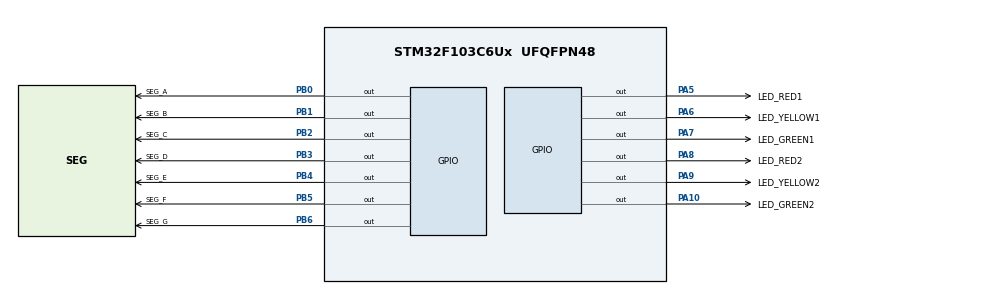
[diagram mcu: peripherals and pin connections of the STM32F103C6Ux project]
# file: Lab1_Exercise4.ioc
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Mcu.Family=STM32F1
Mcu.Name=STM32F103C6Ux
Mcu.Package=UFQFPN48
NVIC.PriorityGroup=NVIC_PRIORITYGROUP_4
PA10.GPIO_Label=LED_GREEN2
PA10.Signal=GPIO_Output
PA5.GPIO_Label=LED_RED1
PA5.Signal=GPIO_Output
PA6.GPIO_Label=LED_YELLOW1
PA6.Signal=GPIO_Output
PA7.GPIO_Label=LED_GREEN1
PA7.PinState=GPIO_PIN_SET
PA7.Signal=GPIO_Output
PA8.GPIO_Label=LED_RED2
PA8.PinState=GPIO_PIN_SET
PA8.Signal=GPIO_Output
PA9.GPIO_Label=LED_YELLOW2
PA9.Signal=GPIO_Output
PB0.GPIO_Label=SEG_A
PB0.PinState=GPIO_PIN_SET
PB0.Signal=GPIO_Output
PB1.GPIO_Label=SEG_B
PB1.PinState=GPIO_PIN_SET
PB1.Signal=GPIO_Output
PB2.GPIO_Label=SEG_C
PB2.PinState=GPIO_PIN_SET
PB2.Signal=GPIO_Output
PB3.GPIO_Label=SEG_D
PB3.PinState=GPIO_PIN_SET
PB3.Signal=GPIO_Output
PB4.GPIO_Label=SEG_E
PB4.PinState=GPIO_PIN_SET
PB4.Signal=GPIO_Output
PB5.GPIO_Label=SEG_F
PB5.PinState=GPIO_PIN_SET
PB5.Signal=GPIO_Output
PB6.GPIO_Label=SEG_G
PB6.PinState=GPIO_PIN_SET
PB6.Signal=GPIO_Output
ProjectManager.HeapSize=0x200
ProjectManager.StackSize=0x400
ProjectManager.TargetToolchain=STM32CubeIDE
RCC.APB1Freq_Value=8000000
RCC.APB2Freq_Value=8000000
VP_SYS_VS_ND.Mode=No_Debug
board=custom

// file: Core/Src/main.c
/* USER CODE BEGIN Header */
/**
  ******************************************************************************
  * @file           : main.c
  * @brief          : Main program body
  ******************************************************************************
  * @attention
  *
  * <h2><center>&copy; Copyright (c) 2026 STMicroelectronics.
  * All rights reserved.</center></h2>
  *
  * This software component is licensed by ST under BSD 3-Clause license,
  * the "License"; You may not use this file except in compliance with the
  * License. You may obtain a copy of the License at:
  *                        opensource.org/licenses/BSD-3-Clause
  *
  ******************************************************************************
  */
/* USER CODE END Header */
#include "main.h"

/* USER CODE BEGIN PV */
int counter = 0;
/* USER CODE END PV */

void SystemClock_Config(void);
static void MX_GPIO_Init(void);

/* USER CODE BEGIN 0 */
void display7SEG(int num)
{
    // Turn off all segments first
    HAL_GPIO_WritePin(GPIOB, GPIO_PIN_0 | GPIO_PIN_1 | GPIO_PIN_2 | GPIO_PIN_3 | GPIO_PIN_4 | GPIO_PIN_5 |  GPIO_PIN_6, GPIO_PIN_SET);

    switch (num)
    {
        case 0:
            // a b c d e f ON, g OFF
            HAL_GPIO_WritePin(GPIOB, GPIO_PIN_0 | GPIO_PIN_1 | GPIO_PIN_2 | GPIO_PIN_3 | GPIO_PIN_4 | GPIO_PIN_5, GPIO_PIN_RESET);
            break;

        case 1:
            // b c
            HAL_GPIO_WritePin(GPIOB, GPIO_PIN_1 | GPIO_PIN_2, GPIO_PIN_RESET);
            break;

        case 2:
            // a b d e g
            HAL_GPIO_WritePin(GPIOB, GPIO_PIN_0 | GPIO_PIN_1 | GPIO_PIN_3 | GPIO_PIN_4 | GPIO_PIN_6, GPIO_PIN_RESET);
            break;

        case 3:
            // a b c d g
            HAL_GPIO_WritePin(GPIOB, GPIO_PIN_0 | GPIO_PIN_1 | GPIO_PIN_2 | GPIO_PIN_3 |GPIO_PIN_6, GPIO_PIN_RESET);
            break;

        case 4:
            // b c f g
            HAL_GPIO_WritePin(GPIOB, GPIO_PIN_1 | GPIO_PIN_2 | GPIO_PIN_5 | GPIO_PIN_6,GPIO_PIN_RESET);
            break;

        case 5:
            // a c d f g
            HAL_GPIO_WritePin(GPIOB, GPIO_PIN_0 | GPIO_PIN_2 | GPIO_PIN_3 | GPIO_PIN_5 | GPIO_PIN_6, GPIO_PIN_RESET);
            break;

        case 6:
            // a c d e f g
            HAL_GPIO_WritePin(GPIOB, GPIO_PIN_0 | GPIO_PIN_2 | GPIO_PIN_3 | GPIO_PIN_4 |GPIO_PIN_5 | GPIO_PIN_6, GPIO_PIN_RESET);
            break;

        case 7:
            // a b c
            HAL_GPIO_WritePin(GPIOB,GPIO_PIN_0 | GPIO_PIN_1 |GPIO_PIN_2,GPIO_PIN_RESET);
            break;

        case 8:
            // a b c d e f g
            HAL_GPIO_WritePin(GPIOB,GPIO_PIN_0 | GPIO_PIN_1 |GPIO_PIN_2 | GPIO_PIN_3 |GPIO_PIN_4 | GPIO_PIN_5 |GPIO_PIN_6, GPIO_PIN_RESET);
            break;

        case 9:
            // a b c d f g
            HAL_GPIO_WritePin(GPIOB,GPIO_PIN_0 | GPIO_PIN_1 |GPIO_PIN_2 | GPIO_PIN_3 |GPIO_PIN_5 | GPIO_PIN_6,GPIO_PIN_RESET);
            break;

        default:
            break;
    }
}
/* USER CODE END 0 */

int main(void)
{

  /* MCU Configuration--------------------------------------------------------*/

  /* Reset of all peripherals, Initializes the Flash interface and the Systick. */
  HAL_Init();

  /* Configure the system clock */
  SystemClock_Config();

  /* Initialize all configured peripherals */
  MX_GPIO_Init();

  /* Infinite loop */
  while (1)
  {
	  if (counter >= 10)
	     {
	         counter = 0;
	     }

	     display7SEG(counter);

	     counter++;

	     HAL_Delay(1000);
  }
}

void SystemClock_Config(void)
{
  RCC_OscInitTypeDef RCC_OscInitStruct = {0};
  RCC_ClkInitTypeDef RCC_ClkInitStruct = {0};

  /** Initializes the RCC Oscillators according to the specified parameters
  * in the RCC_OscInitTypeDef structure.
  */
  RCC_OscInitStruct.OscillatorType = RCC_OSCILLATORTYPE_HSI;
  RCC_OscInitStruct.HSIState = RCC_HSI_ON;
  RCC_OscInitStruct.HSICalibrationValue = RCC_HSICALIBRATION_DEFAULT;
  RCC_OscInitStruct.PLL.PLLState = RCC_PLL_NONE;
  if (HAL_RCC_OscConfig(&RCC_OscInitStruct) != HAL_OK)
  {
    Error_Handler();
  }
  /** Initializes the CPU, AHB and APB buses clocks
  */
  RCC_ClkInitStruct.ClockType = RCC_CLOCKTYPE_HCLK|RCC_CLOCKTYPE_SYSCLK
                              |RCC_CLOCKTYPE_PCLK1|RCC_CLOCKTYPE_PCLK2;
  RCC_ClkInitStruct.SYSCLKSource = RCC_SYSCLKSOURCE_HSI;
  RCC_ClkInitStruct.AHBCLKDivider = RCC_SYSCLK_DIV1;
  RCC_ClkInitStruct.APB1CLKDivider = RCC_HCLK_DIV1;
  RCC_ClkInitStruct.APB2CLKDivider = RCC_HCLK_DIV1;

  if (HAL_RCC_ClockConfig(&RCC_ClkInitStruct, FLASH_LATENCY_0) != HAL_OK)
  {
    Error_Handler();
  }
}

static void MX_GPIO_Init(void)
{
  GPIO_InitTypeDef GPIO_InitStruct = {0};

  /* GPIO Ports Clock Enable */
  __HAL_RCC_GPIOA_CLK_ENABLE();
  __HAL_RCC_GPIOB_CLK_ENABLE();

  /*Configure GPIO pin Output Level */
  HAL_GPIO_WritePin(GPIOA, LED_RED1_Pin|LED_YELLOW1_Pin|LED_YELLOW2_Pin|LED_GREEN2_Pin, GPIO_PIN_RESET);

  /*Configure GPIO pin Output Level */
  HAL_GPIO_WritePin(GPIOA, LED_GREEN1_Pin|LED_RED2_Pin, GPIO_PIN_SET);

  /*Configure GPIO pin Output Level */
  HAL_GPIO_WritePin(GPIOB, SEG_A_Pin|SEG_B_Pin|SEG_C_Pin|SEG_D_Pin
                          |SEG_E_Pin|SEG_F_Pin|SEG_G_Pin, GPIO_PIN_SET);

  /*Configure GPIO pins : LED_RED1_Pin LED_YELLOW1_Pin LED_GREEN1_Pin LED_RED2_Pin
                           LED_YELLOW2_Pin LED_GREEN2_Pin */
  GPIO_InitStruct.Pin = LED_RED1_Pin|LED_YELLOW1_Pin|LED_GREEN1_Pin|LED_RED2_Pin
                          |LED_YELLOW2_Pin|LED_GREEN2_Pin;
  GPIO_InitStruct.Mode = GPIO_MODE_OUTPUT_PP;
  GPIO_InitStruct.Pull = GPIO_NOPULL;
  GPIO_InitStruct.Speed = GPIO_SPEED_FREQ_LOW;
  HAL_GPIO_Init(GPIOA, &GPIO_InitStruct);

  /*Configure GPIO pins : SEG_A_Pin SEG_B_Pin SEG_C_Pin SEG_D_Pin
                           SEG_E_Pin SEG_F_Pin SEG_G_Pin */
  GPIO_InitStruct.Pin = SEG_A_Pin|SEG_B_Pin|SEG_C_Pin|SEG_D_Pin
                          |SEG_E_Pin|SEG_F_Pin|SEG_G_Pin;
  GPIO_InitStruct.Mode = GPIO_MODE_OUTPUT_PP;
  GPIO_InitStruct.Pull = GPIO_NOPULL;
  GPIO_InitStruct.Speed = GPIO_SPEED_FREQ_LOW;
  HAL_GPIO_Init(GPIOB, &GPIO_InitStruct);

}

void Error_Handler(void)
{
  __disable_irq();
  while (1)
  {
  }
}

/************************ (C) COPYRIGHT STMicroelectronics *****END OF FILE****/
